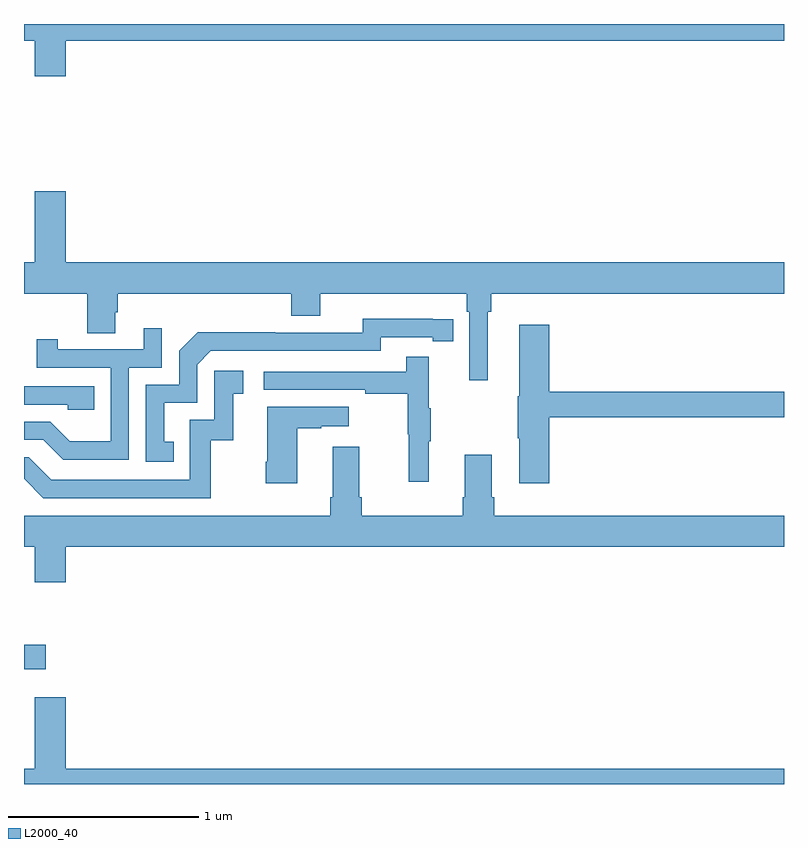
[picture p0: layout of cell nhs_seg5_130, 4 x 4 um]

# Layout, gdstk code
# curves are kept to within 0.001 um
import gdstk
lib = gdstk.Library(unit=1e-6, precision=1e-09)
def R(c, l, rs):  # rectangles x0, y0, x1, y1
    for r in rs: c.add(gdstk.rectangle(r[:2], r[2:], *l))
def P(c, l, *ps):  # polygons
    for p in ps: c.add(gdstk.Polygon(p, *l))
L2000_40 = (2000, 40)

nhs_seg5_130 = lib.new_cell('nhs_seg5_130')
R(nhs_seg5_130, L2000_40, [(117,901.403,117.115,901.533)])
P(nhs_seg5_130, L2000_40, [(117.22,904.712),(121,904.712),(121,904.799),(117,904.799),(117,904.712),(117.056,904.712),(117.056,904.524),(117.22,904.524)],
  [(119.44,903.284),(119.459,903.284),(119.459,903.38),(121,903.38),(121,903.544),(117.22,903.544),(117.22,903.919),(117.056,903.919),(117.056,903.544),(117,903.544),(117,903.38),(117.334,903.38),(117.334,903.172),(117.481,903.172),(117.481,903.282),(117.494,903.282),(117.494,903.38),(118.406,903.38),(118.406,903.263),(118.558,903.263),(118.558,903.38),(119.33,903.38),(119.33,903.284),(119.343,903.284),(119.343,902.925),(119.44,902.925)],
  [(117.788,902.601),(117.739,902.601),(117.739,902.805),(117.912,902.805),(117.912,903.006),(117.984,903.078),(118.878,903.078),(118.878,903.15),(119.15,903.15),(119.15,903.13),(119.258,903.13),(119.258,903.246),(118.782,903.247),(118.782,903.174),(118.322,903.174),(118.322,903.176),(117.914,903.176),(117.816,903.078),(117.816,902.901),(117.642,902.901),(117.642,902.496),(117.788,902.496)],
  [(119.765,902.728),(121,902.728),(121,902.864),(119.765,902.864),(119.765,903.217),(119.606,903.217),(119.606,902.841),(119.599,902.841),(119.599,902.62),(119.606,902.62),(119.606,902.382),(119.765,902.382)],
  [(117.552,902.991),(117.726,902.991),(117.726,903.199),(117.629,903.199),(117.629,903.087),(117.178,903.087),(117.178,903.139),(117.067,903.139),(117.067,902.991),(117.456,902.991),(117.456,902.602),(117.242,902.602),(117.138,902.706),(117,902.706),(117,902.61),(117.101,902.61),(117.206,902.505),(117.552,902.505)],
  [(119.129,902.603),(119.14,902.603),(119.14,902.777),(119.129,902.777),(119.129,903.049),(119.011,903.049),(119.011,902.97),(118.263,902.97),(118.263,902.874),(118.795,902.874),(118.795,902.854),(119.019,902.854),(119.019,902.64),(119.026,902.64),(119.026,902.391),(119.129,902.391)],
  [(117.982,902.607),(118.1,902.607),(118.1,902.853),(118.153,902.853),(118.153,902.974),(118.002,902.974),(118.002,902.715),(117.873,902.715),(117.873,902.4),(117.144,902.4),(117.024,902.52),(117,902.52),(117,902.406),(117.102,902.304),(117.982,902.304)],
  [(117.371,902.892),(117,902.892),(117,902.796),(117.231,902.796),(117.231,902.769),(117.371,902.769)],
  [(118.438,902.671),(118.565,902.671),(118.565,902.681),(118.708,902.681),(118.708,902.785),(118.28,902.785),(118.28,902.494),(118.273,902.494),(118.273,902.382),(118.438,902.382)],
  [(117.22,902.048),(121,902.048),(121,902.212),(119.474,902.212),(119.474,902.308),(119.461,902.308),(119.461,902.533),(119.321,902.533),(119.321,902.308),(119.309,902.308),(119.309,902.212),(118.778,902.212),(118.778,902.308),(118.765,902.308),(118.765,902.575),(118.625,902.575),(118.625,902.308),(118.613,902.308),(118.613,902.212),(117,902.212),(117,902.048),(117.056,902.048),(117.056,901.86),(117.22,901.86)],
  [(121,900.88),(117.22,900.88),(117.22,901.255),(117.056,901.255),(117.056,900.88),(117,900.88),(117,900.799),(121,900.799)])

lib.write_gds('nhs_seg5_130.gds')
